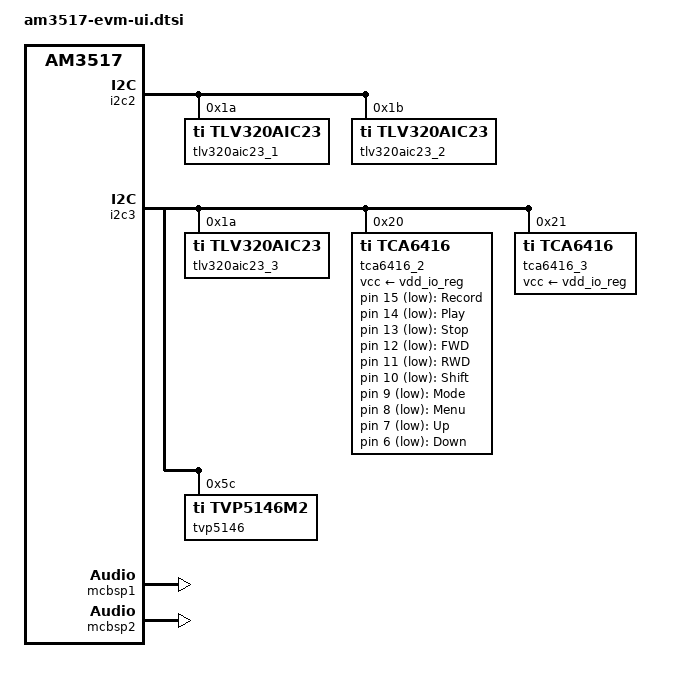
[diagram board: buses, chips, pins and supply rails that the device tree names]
// SPDX-License-Identifier: GPL-2.0-only
/*
 * Copyright (C) 2018 Logic PD, Inc - https://www.logicpd.com/
 */

#include <dt-bindings/input/input.h>

/ {
	codec1 {
		compatible = "simple-audio-card";
		simple-audio-card,name = "tlv320aic23-hifi";

		simple-audio-card,widgets =
			"Microphone", "Mic In",
			"Line", "Line In",
			"Line", "Line Out";

		simple-audio-card,routing =
			"Line Out", "LOUT",
			"Line Out", "ROUT",
			"LLINEIN", "Line In",
			"RLINEIN", "Line In",
			"MICIN", "Mic In";

		simple-audio-card,format = "i2s";
		simple-audio-card,bitclock-master = <&sound_master>;
		simple-audio-card,frame-master = <&sound_master>;

		simple-audio-card,cpu {
			sound-dai = <&mcbsp1>;
		};

		sound_master: simple-audio-card,codec {
			sound-dai = <&tlv320aic23_1>;
			system-clock-frequency = <12000000>;
		};
	};

	codec2 {
		compatible = "simple-audio-card";
		simple-audio-card,name = "tlv320aic23-hifi";

		simple-audio-card,widgets =
			"Microphone", "Mic In",
			"Line", "Line In",
			"Line", "Line Out";

		simple-audio-card,routing =
			"Line Out", "LOUT",
			"Line Out", "ROUT",
			"LLINEIN", "Line In",
			"RLINEIN", "Line In",
			"MICIN", "Mic In";

		simple-audio-card,format = "i2s";
		simple-audio-card,bitclock-master = <&sound_master2>;
		simple-audio-card,frame-master = <&sound_master2>;

		simple-audio-card,cpu {
			sound-dai = <&mcbsp2>;
		};

		sound_master2: simple-audio-card,codec {
			sound-dai = <&tlv320aic23_2>;
			system-clock-frequency = <12000000>;
		};
	};

	expander-keys {
		compatible = "gpio-keys-polled";
		poll-interval = <100>;

		key-record {
			label = "Record";
			/* linux,code = <BTN_0>; */
			gpios = <&tca6416_2 15 GPIO_ACTIVE_LOW>;
		};

		key-play {
			label = "Play";
			linux,code = <KEY_PLAY>;
			gpios = <&tca6416_2 14 GPIO_ACTIVE_LOW>;
		};

		key-stop {
			label = "Stop";
			linux,code = <KEY_STOP>;
			gpios = <&tca6416_2 13 GPIO_ACTIVE_LOW>;
		};

		key-fwd {
			label = "FWD";
			linux,code = <KEY_FASTFORWARD>;
			gpios = <&tca6416_2 12 GPIO_ACTIVE_LOW>;
		};

		key-rwd {
			label = "RWD";
			linux,code = <KEY_REWIND>;
			gpios = <&tca6416_2 11 GPIO_ACTIVE_LOW>;
		};

		key-shift {
			label = "Shift";
			linux,code = <KEY_LEFTSHIFT>;
			gpios = <&tca6416_2 10 GPIO_ACTIVE_LOW>;
		};

		key-mode {
			label = "Mode";
			linux,code = <BTN_MODE>;
			gpios = <&tca6416_2 9 GPIO_ACTIVE_LOW>;
		};

		key-menu {
			label = "Menu";
			linux,code = <KEY_MENU>;
			gpios = <&tca6416_2 8 GPIO_ACTIVE_LOW>;
		};

		key-up {
			label = "Up";
			linux,code = <KEY_UP>;
			gpios = <&tca6416_2 7 GPIO_ACTIVE_LOW>;
		};

		key-down {
			label = "Down";
			linux,code = <KEY_DOWN>;
			gpios = <&tca6416_2 6 GPIO_ACTIVE_LOW>;
		};
	};
};

&i2c2 {
	/* Audio codecs */
	tlv320aic23_1: codec@1a {
		compatible = "ti,tlv320aic23";
		reg = <0x1a>;
		#sound-dai-cells = <0>;
		status = "okay";
	};

	tlv320aic23_2: codec@1b {
		compatible = "ti,tlv320aic23";
		reg = <0x1b>;
		#sound-dai-cells = <0>;
		status = "okay";
	};
};

&i2c3 {
	/* Audio codecs */
	tlv320aic23_3: codec@1a {
		compatible = "ti,tlv320aic23";
		reg = <0x1a>;
		#sound-dai-cells = <0>;
		status = "okay";
	};

	/* GPIO Expanders */
	tca6416_2: gpio@20 {
		compatible = "ti,tca6416";
		reg = <0x20>;
		gpio-controller;
		#gpio-cells = <2>;
		vcc-supply = <&vdd_io_reg>;
	};

	tca6416_3: gpio@21 {
		compatible = "ti,tca6416";
		reg = <0x21>;
		gpio-controller;
		#gpio-cells = <2>;
		vcc-supply = <&vdd_io_reg>;
	};

	/* TVP5146 Analog Video decoder input */
	tvp5146@5c {
		compatible = "ti,tvp5146m2";
		reg = <0x5c>;
	};
};

&mcbsp1 {
	status = "okay";
	#sound-dai-cells = <0>;
	pinctrl-names = "default";
	pinctrl-0 = <&mcbsp1_pins>;
};

&mcbsp2 {
	status = "okay";
	#sound-dai-cells = <0>;
	pinctrl-names = "default";
	pinctrl-0 = <&mcbsp2_pins>;
};

&omap3_pmx_core {
	mcbsp1_pins: pinmux_mcbsp1_pins {
		pinctrl-single,pins = <
			OMAP3_CORE1_IOPAD(0x2190, PIN_OUTPUT | MUX_MODE0)	/* mcbsp1_dx.mcbsp1_dx */
			OMAP3_CORE1_IOPAD(0x2192, PIN_INPUT | MUX_MODE0)	/* mcbsp1_dx.mcbsp1_dr */
			OMAP3_CORE1_IOPAD(0x2196, PIN_INPUT | MUX_MODE0)	/* mcbsp_clks.mcbsp1_fsx */
			OMAP3_CORE1_IOPAD(0x2198, PIN_INPUT | MUX_MODE0)	/* mcbsp1_clkx.mcbsp1_clkx */
		>;
	};

	mcbsp2_pins: pinmux_mcbsp2_pins {
		pinctrl-single,pins = <
			OMAP3_CORE1_IOPAD(0x213c, PIN_INPUT | MUX_MODE0)	/* mcbsp2_fsx.mcbsp2_fsx */
			OMAP3_CORE1_IOPAD(0x213e, PIN_INPUT | MUX_MODE0)	/* mcbsp2_clkx.mcbsp2_clkx */
			OMAP3_CORE1_IOPAD(0x2140, PIN_INPUT | MUX_MODE0)	/* mcbsp2_dr.mcbsp2.dr */
			OMAP3_CORE1_IOPAD(0x2142, PIN_OUTPUT | MUX_MODE0)	/* mcbsp2_dx.mcbsp2_dx */
		>;
	};
};
